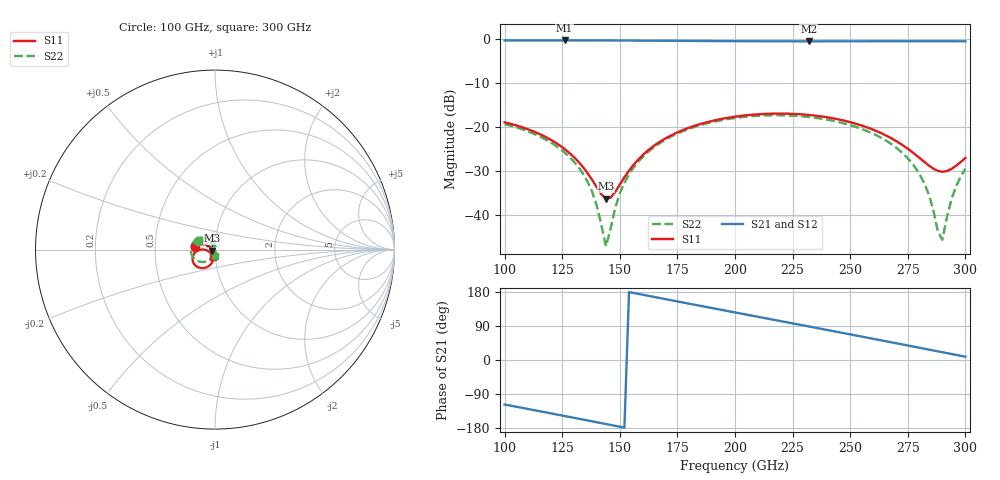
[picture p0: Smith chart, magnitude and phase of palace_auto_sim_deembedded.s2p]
! Created with skrf 1.11.0 (http://scikit-rf.org).
# GHz S DB R 50.0
!freq dBS11 angS11 dBS21 angS21 dBS12 angS12 dBS22 angS22
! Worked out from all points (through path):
!   101 points, 100 GHz to 300 GHz, reference 50 ohm
!   highest |S21| = -0.44 dB at 126 GHz (marker M1); lowest = -0.6 dB at 232 GHz (marker M2)
!   group delay of S21, straight-line fit = 3.24 ps
!   lowest |S11| = -36.3 dB at 144 GHz (marker M3), VSWR 1.03, Z = 48.6 - j0.497 ohm
!   |S11| at or under -10 dB: start of sweep to end of sweep
!   |S22| runs from -47.1 to -17.4 dB; largest |S21 - S12| = 1.1e-14
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100  -18.99 172.6  -0.44 -117.4  -0.44 -117.4  -19.40 153.9
126  -25.02 152.1  -0.44 -147.8  -0.44 -147.8  -25.81 123.4
134  -29.11 153.4  -0.44 -157.2  -0.44 -157.2  -30.60 116.8
140  -33.71 168.7  -0.44 -164.2  -0.44 -164.2  -37.83 120.7
144  -36.28 -160.5  -0.45 -169.0  -0.45 -169.0  -47.05 179.9
148  -34.77 -124.1  -0.45 -173.7  -0.45 -173.7  -38.37 -111.2
152  -31.44 -106.6  -0.46 -178.4  -0.46 -178.4  -32.67 -105.8
158  -27.43 -99.4  -0.47 174.5  -0.47 174.5  -27.92 -108.8
168  -23.20 -101.9  -0.50 162.8  -0.50 162.8  -23.49 -119.0
182  -19.86 -112.4  -0.55 146.4  -0.55 146.4  -20.11 -135.5
200  -17.71 -128.2  -0.60 125.5  -0.60 125.5  -18.00 -157.2
232  -17.32 -156.8  -0.64 88.5  -0.64 88.5  -17.78 164.0
234  -17.43 -158.5  -0.64 86.2  -0.64 86.2  -17.90 161.5
254  -19.55 -174.1  -0.62 63.0  -0.62 63.0  -20.30 136.1
268  -22.64 179.6  -0.61 46.5  -0.61 46.5  -23.97 117.1
276  -25.36 -178.4  -0.61 37.1  -0.61 37.1  -27.74 104.6
282  -27.89 -169.4  -0.61 30.0  -0.61 30.0  -32.62 91.8
286  -29.45 -156.8  -0.61 25.3  -0.61 25.3  -38.66 74.0
288  -29.98 -148.2  -0.61 22.9  -0.61 22.9  -43.65 48.1
290  -30.19 -138.6  -0.61 20.5  -0.61 20.5  -45.60 -17.1
294  -29.54 -119.9  -0.62 15.8  -0.62 15.8  -36.35 -72.6
300  -27.06 -102.1  -0.63 8.7  -0.63 8.7  -29.49 -90.6
